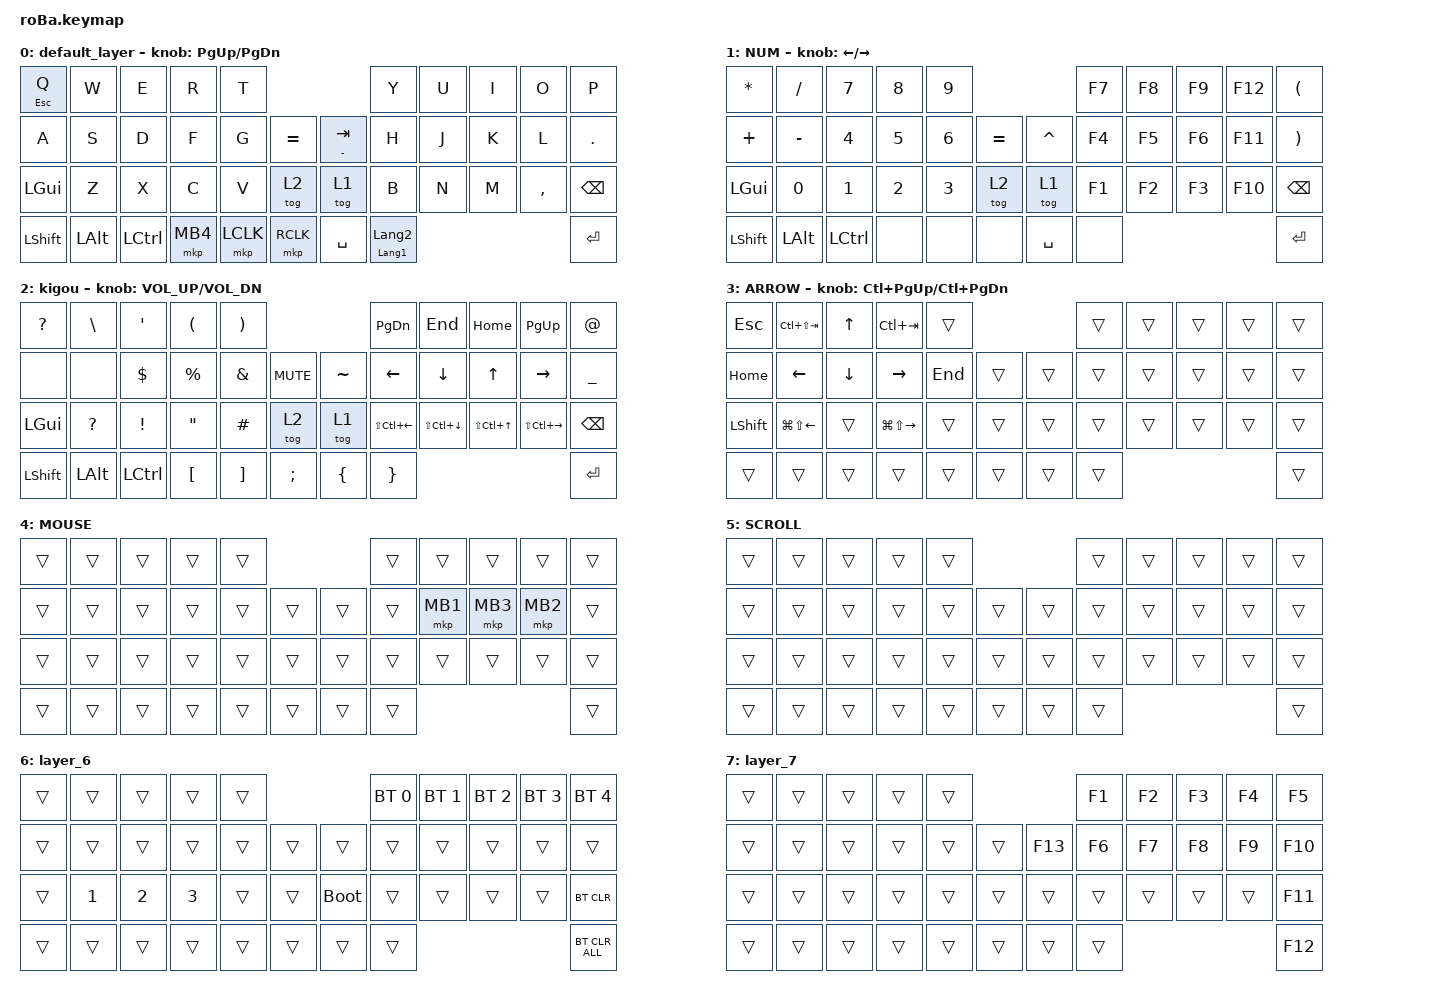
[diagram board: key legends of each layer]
#include <behaviors.dtsi>
#include <dt-bindings/zmk/bt.h>
#include <dt-bindings/zmk/keys.h>
#include <dt-bindings/zmk/pointing.h>

&mt {
    flavor = "balanced";
    quick-tap-ms = <0>;
};

&trackball {
    automouse-layer = <4>;
    scroll-layers = <5>;

    // arrows {
    //     layers = <3>;
    //     bindings =
    //         <&kp RIGHT_ARROW>,
    //         <&kp LEFT_ARROW>,
    //         <&kp UP_ARROW>,
    //         <&kp DOWN_ARROW>;
    //     tick = <10>;
    //     wait-ms = <5>;
    //     tap-ms = <5>;
    // };
};

/ {
    combos {
        compatible = "zmk,combos";

        tab {
            bindings = <&kp TAB>;
            key-positions = <11 12>;
        };

        shift_tab {
            bindings = <&kp LS(TAB)>;
            key-positions = <12 13>;
        };

        muhennkann {
            bindings = <&to_layer_0 INT_MUHENKAN>;
            key-positions = <11 10>;
        };

        double_quotation {
            bindings = <&kp DOUBLE_QUOTES>;
            key-positions = <20 21>;
        };

        eq {
            bindings = <&kp EQUAL>;
            key-positions = <24 25>;
        };
    };

    macros {
        to_layer_0: to_layer_0 {
            compatible = "zmk,behavior-macro-one-param";
            #binding-cells = <1>;
            bindings = <&to 0 &macro_param_1to1 &kp MACRO_PLACEHOLDER>;
            label = "TO_LAYER_0";
        };
    };

    behaviors {
        lt_to_layer_0: lt_to_layer_0 {
            compatible = "zmk,behavior-hold-tap";
            label = "LAYER_TAP_TO_0";
            bindings = <&mo>, <&to_layer_0>;

            #binding-cells = <2>;
            tapping-term-ms = <200>;
        };
    };

    keymap {
        compatible = "zmk,keymap";

        default_layer {
            bindings = <
&mt ESCAPE Q  &kp W     &kp E      &kp R     &kp T                                    &kp Y                      &kp U  &kp I  &kp O      &kp P
&kp A         &kp S     &kp D      &kp F     &kp G      &kp EQUAL      &mt MINUS TAB  &kp H                      &kp J  &kp K  &kp L      &kp DOT
&kp LGUI      &kp Z     &kp X      &kp C     &kp V      &tog 2         &tog 1         &kp B                      &kp N  &kp M  &kp COMMA  &kp BSPC
&kp LSHFT     &kp LALT  &kp LCTRL  &mkp MB4  &mkp LCLK  &mkp RCLK      &kp SPACE      &mt LANGUAGE_1 LANGUAGE_2                           &kp RET
            >;

            sensor-bindings = <&inc_dec_kp PG_UP PAGE_DOWN>;
        };

        NUM {
            bindings = <
&kp ASTERISK  &kp SLASH  &kp N7     &kp N8  &kp N9                            &kp F7  &kp F8  &kp F9  &kp F12  &kp LEFT_PARENTHESIS
&kp PLUS      &kp MINUS  &kp N4     &kp N5  &kp N6  &kp EQUAL      &kp CARET  &kp F4  &kp F5  &kp F6  &kp F11  &kp RIGHT_PARENTHESIS
&kp LGUI      &kp N0     &kp N1     &kp N2  &kp N3  &tog 2         &tog 1     &kp F1  &kp F2  &kp F3  &kp F10  &kp BSPC
&kp LSHFT     &kp LALT   &kp LCTRL  &none   &none   &none          &kp SPACE  &none                            &kp ENTER
            >;

            sensor-bindings = <&inc_dec_kp LEFT_ARROW RIGHT_ARROW>;
        };

        kigou {
            bindings = <
&kp QUESTION  &kp BACKSLASH  &kp SQT          &kp LEFT_PARENTHESIS  &kp RIGHT_PARENTHESIS                                     &kp PAGE_DOWN           &kp END                 &kp HOME              &kp PAGE_UP              &kp AT_SIGN
&none         &none          &kp DOLLAR       &kp PERCENT           &kp AMPERSAND          &kp K_MUTE         &kp TILDE       &kp LEFT_ARROW          &kp DOWN_ARROW          &kp UP_ARROW          &kp RIGHT_ARROW          &kp UNDERSCORE
&kp LGUI      &kp QUESTION   &kp EXCLAMATION  &kp DOUBLE_QUOTES     &kp HASH               &tog 2             &tog 1          &kp LS(LC(LEFT_ARROW))  &kp LS(LC(DOWN_ARROW))  &kp LS(LC(UP_ARROW))  &kp LS(LC(RIGHT_ARROW))  &kp BSPC
&kp LSHFT     &kp LALT       &kp LCTRL        &kp LEFT_BRACKET      &kp RIGHT_BRACKET      &kp SEMICOLON      &kp LEFT_BRACE  &kp RIGHT_BRACE                                                                                &kp ENTER
            >;

            sensor-bindings = <&inc_dec_kp C_VOLUME_UP C_VOL_DN>;
        };

        ARROW {
            bindings = <
&kp ESCAPE      &kp LC(LS(TAB))         &kp UP_ARROW    &kp LC(TAB)              &trans                       &trans  &trans  &trans  &trans  &trans
&kp HOME        &kp LEFT_ARROW          &kp DOWN_ARROW  &kp RIGHT_ARROW          &kp END  &trans      &trans  &trans  &trans  &trans  &trans  &trans
&kp LEFT_SHIFT  &kp LG(LS(LEFT_ARROW))  &trans          &kp LG(LS(RIGHT_ARROW))  &trans   &trans      &trans  &trans  &trans  &trans  &trans  &trans
&trans          &trans                  &trans          &trans                   &trans   &trans      &trans  &trans                          &trans
            >;

            sensor-bindings = <&inc_dec_kp LC(PAGE_UP) LC(PAGE_DOWN)>;
        };

        MOUSE {
            bindings = <
&trans  &trans  &trans  &trans  &trans                      &trans  &trans    &trans    &trans    &trans
&trans  &trans  &trans  &trans  &trans  &trans      &trans  &trans  &mkp MB1  &mkp MB3  &mkp MB2  &trans
&trans  &trans  &trans  &trans  &trans  &trans      &trans  &trans  &trans    &trans    &trans    &trans
&trans  &trans  &trans  &trans  &trans  &trans      &trans  &trans                                &trans
            >;
        };

        SCROLL {
            bindings = <
&trans  &trans  &trans  &trans  &trans                      &trans  &trans  &trans  &trans  &trans
&trans  &trans  &trans  &trans  &trans  &trans      &trans  &trans  &trans  &trans  &trans  &trans
&trans  &trans  &trans  &trans  &trans  &trans      &trans  &trans  &trans  &trans  &trans  &trans
&trans  &trans  &trans  &trans  &trans  &trans      &trans  &trans                          &trans
            >;
        };

        layer_6 {
            bindings = <
&trans  &trans        &trans        &trans        &trans                           &bt BT_SEL 0  &bt BT_SEL 1  &bt BT_SEL 2  &bt BT_SEL 3  &bt BT_SEL 4
&trans  &trans        &trans        &trans        &trans  &trans      &trans       &trans        &trans        &trans        &trans        &trans
&trans  &kp NUMBER_1  &kp NUMBER_2  &kp NUMBER_3  &trans  &trans      &bootloader  &trans        &trans        &trans        &trans        &bt BT_CLR
&trans  &trans        &trans        &trans        &trans  &trans      &trans       &trans                                                  &bt BT_CLR_ALL
            >;
        };

        layer_7 {
            bindings = <
&trans  &trans  &trans  &trans  &trans                       &kp F1  &kp F2  &kp F3  &kp F4  &kp F5
&trans  &trans  &trans  &trans  &trans  &trans      &kp F13  &kp F6  &kp F7  &kp F8  &kp F9  &kp F10
&trans  &trans  &trans  &trans  &trans  &trans      &trans   &trans  &trans  &trans  &trans  &kp F11
&trans  &trans  &trans  &trans  &trans  &trans      &trans   &trans                          &kp F12
            >;
        };
    };
};
